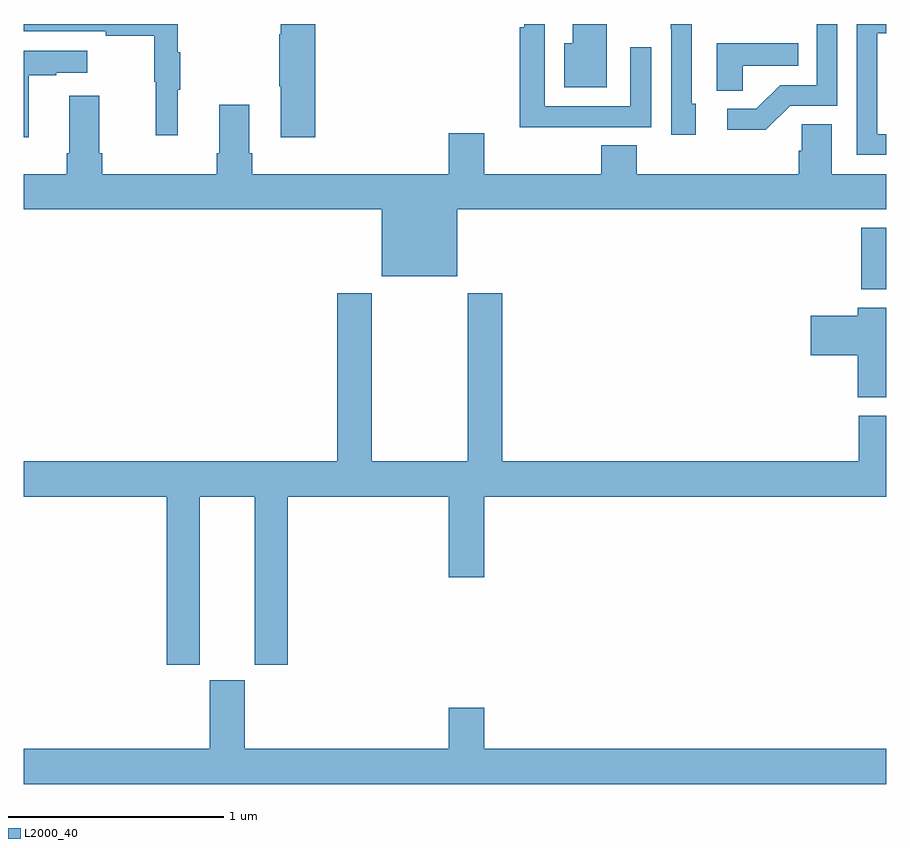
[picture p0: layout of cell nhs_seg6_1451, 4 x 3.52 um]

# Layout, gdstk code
import gdstk
lib = gdstk.Library(unit=1e-6, precision=1e-09)
def R(c, l, rs):  # rectangles x0, y0, x1, y1
    for r in rs: c.add(gdstk.rectangle(r[:2], r[2:], *l))
def P(c, l, *ps):  # polygons
    for p in ps: c.add(gdstk.Polygon(p, *l))
L2000_40 = (2000, 40)

nhs_seg6_1451 = lib.new_cell('nhs_seg6_1451')
R(nhs_seg6_1451, L2000_40, [(202.883,976.269,203,976.555)])
P(nhs_seg6_1451, L2000_40, [(203,976.989),(202.959,976.989),(202.959,977.458),(203,977.458),(203,977.5),(202.863,977.5),(202.863,976.893),(203,976.893)],
  [(202.117,977.13),(202.098,977.13),(202.098,977.5),(202,977.5),(202,977.479),(202.002,977.479),(202.002,976.986),(202.117,976.986)],
  [(201.703,977.5),(201.545,977.5),(201.545,977.41),(201.506,977.41),(201.506,977.207),(201.703,977.207)],
  [(201.593,977.022),(201.909,977.022),(201.909,977.392),(201.813,977.392),(201.813,977.118),(201.417,977.118),(201.417,977.5),(201.32,977.5),(201.32,977.486),(201.301,977.486),(201.301,977.021),(201.593,977.021)],
  [(202.554,977.121),(202.773,977.121),(202.773,977.5),(202.677,977.5),(202.677,977.217),(202.508,977.217),(202.397,977.106),(202.263,977.106),(202.263,977.009),(202.441,977.009)],
  [(200.351,977.5),(200.192,977.5),(200.192,977.453),(200.185,977.453),(200.185,977.212),(200.192,977.212),(200.192,976.974),(200.351,976.974)],
  [(199.715,977.195),(199.726,977.195),(199.726,977.369),(199.715,977.369),(199.715,977.5),(199,977.5),(199,977.466),(199.381,977.466),(199.381,977.446),(199.605,977.446),(199.605,977.232),(199.612,977.232),(199.612,976.983),(199.715,976.983)],
  [(202.335,977.306),(202.592,977.306),(202.592,977.41),(202.214,977.41),(202.214,977.191),(202.335,977.191)],
  [(199.024,977.263),(199.151,977.263),(199.151,977.273),(199.294,977.273),(199.294,977.377),(199,977.377),(199,976.974),(199.024,976.974)],
  [(200.972,976.804),(200.06,976.804),(200.06,976.9),(200.047,976.9),(200.047,977.125),(199.907,977.125),(199.907,976.9),(199.895,976.9),(199.895,976.804),(199.364,976.804),(199.364,976.9),(199.351,976.9),(199.351,977.167),(199.211,977.167),(199.211,976.9),(199.199,976.9),(199.199,976.804),(199,976.804),(199,976.64),(200.66,976.64),(200.66,976.331),(201.01,976.331),(201.01,976.64),(203,976.64),(203,976.804),(202.747,976.804),(202.747,977.036),(202.608,977.036),(202.608,976.913),(202.595,976.913),(202.595,976.804),(201.842,976.804),(201.842,976.937),(201.677,976.937),(201.677,976.804),(201.136,976.804),(201.136,976.993),(200.972,976.993)],
  [(201.058,975.472),(200.613,975.472),(200.613,976.252),(200.453,976.252),(200.453,975.472),(199,975.472),(199,975.308),(199.664,975.308),(199.664,974.529),(199.816,974.529),(199.816,975.308),(200.072,975.308),(200.072,974.529),(200.225,974.529),(200.225,975.308),(200.972,975.308),(200.972,974.934),(201.136,974.934),(201.136,975.308),(203,975.308),(203,975.684),(202.871,975.684),(202.871,975.472),(201.218,975.472),(201.218,976.252),(201.058,976.252)],
  [(203,976.184),(202.868,976.184),(202.868,976.148),(202.65,976.148),(202.65,975.965),(202.868,975.965),(202.868,975.769),(203,975.769)],
  [(203,974.14),(201.136,974.14),(201.136,974.329),(200.972,974.329),(200.972,974.14),(200.026,974.14),(200.026,974.457),(199.862,974.457),(199.862,974.14),(199,974.14),(199,973.976),(203,973.976)])

lib.write_gds('nhs_seg6_1451.gds')
